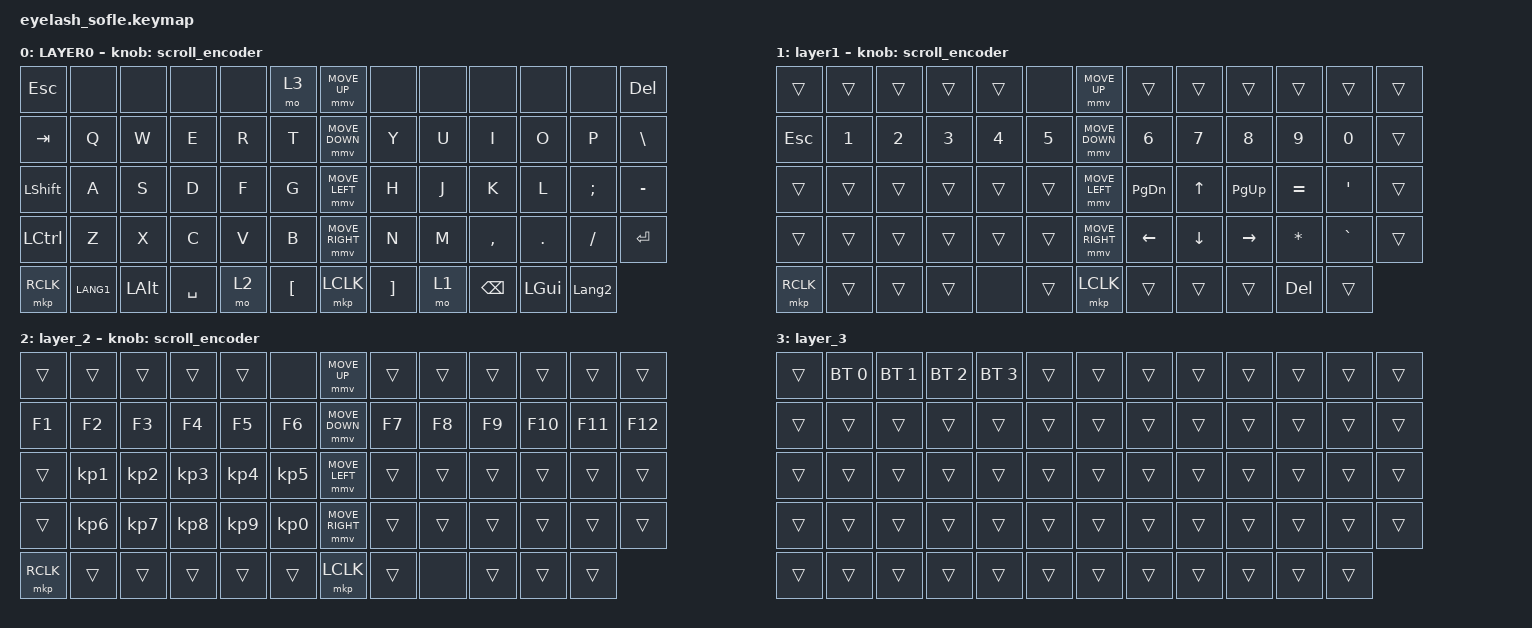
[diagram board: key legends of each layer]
#define ZMK_POINTING_DEFAULT_MOVE_VAL 1200  // 600
#define ZMK_POINTING_DEFAULT_SCRL_VAL 25   // 10

#include <input/processors.dtsi>
#include <zephyr/dt-bindings/input/input-event-codes.h>
#include <behaviors.dtsi>
#include <dt-bindings/zmk/bt.h>
#include <dt-bindings/zmk/keys.h>
#include <dt-bindings/zmk/pointing.h>

&mmv_input_listener { input-processors = <&zip_xy_scaler 2 1>; };

&msc_input_listener { input-processors = <&zip_scroll_scaler 2 1>; };

&msc {
    acceleration-exponent = <1>;      // 0
    time-to-max-speed-ms = <100>;       // 300
    delay-ms = <0>;                   // 0
};

&mmv {
    time-to-max-speed-ms = <500>;
    acceleration-exponent = <1>;
    trigger-period-ms = <16>;
};

/ {
    scroll_encoder: scroll_encoder {
        compatible = "zmk,behavior-sensor-rotate";
        #sensor-binding-cells = <0>;
        bindings = <&msc SCRL_DOWN>, <&msc SCRL_UP>;

        tap-ms = <100>;
    };

    behaviors {
    };

    keymap {
        compatible = "zmk,keymap";

        layer0 {
            bindings = <
&kp ESC               &none      &none         &none      &none  &mo 3              &mmv MOVE_UP     &none              &none  &none          &none         &none           &kp DELETE
&kp TAB               &kp Q      &kp W         &kp E      &kp R  &kp T              &mmv MOVE_DOWN   &kp Y              &kp U  &kp I          &kp O         &kp P           &kp BSLH
&kp LEFT_SHIFT        &kp A      &kp S         &kp D      &kp F  &kp G              &mmv MOVE_LEFT   &kp H              &kp J  &kp K          &kp L         &kp SEMI        &kp MINUS
&kp LEFT_CONTROL      &kp Z      &kp X         &kp C      &kp V  &kp B              &mmv MOVE_RIGHT  &kp N              &kp M  &kp COMMA      &kp DOT       &kp FSLH        &kp ENTER
&mkp RCLK             &kp LANG1  &kp LEFT_ALT  &kp SPACE  &mo 2  &kp LEFT_BRACKET   &mkp LCLK        &kp RIGHT_BRACKET  &mo 1  &kp BACKSPACE  &kp LEFT_GUI  &kp LANGUAGE_2
            >;

            sensor-bindings = <&scroll_encoder>;
            display-name = "LAYER0";
        };

        layer_1 {
            bindings = <
&trans     &trans        &trans        &trans        &trans        &none     &mmv MOVE_UP     &trans        &trans        &trans       &trans        &trans     &trans
&kp ESC    &kp NUMBER_1  &kp NUMBER_2  &kp NUMBER_3  &kp NUMBER_4  &kp N5    &mmv MOVE_DOWN   &kp NUMBER_6  &kp N7        &kp N8       &kp N9        &kp N0     &trans
&trans     &trans        &trans        &trans        &trans        &trans    &mmv MOVE_LEFT   &kp PG_DN     &kp UP_ARROW  &kp PAGE_UP  &kp EQUAL     &kp SQT    &trans
&trans     &trans        &trans        &trans        &trans        &trans    &mmv MOVE_RIGHT  &kp LEFT      &kp DOWN      &kp RIGHT    &kp ASTERISK  &kp GRAVE  &trans
&mkp RCLK  &trans        &trans        &trans        &none         &trans    &mkp LCLK        &trans        &trans        &trans       &kp DELETE    &trans
            >;

            display-name = "layer1";
            sensor-bindings = <&scroll_encoder>;
        };

        layer_2 {
            bindings = <
&trans     &trans           &trans           &trans           &trans           &none              &mmv MOVE_UP     &trans  &trans  &trans  &trans   &trans   &trans
&kp F1     &kp F2           &kp F3           &kp F4           &kp F5           &kp F6             &mmv MOVE_DOWN   &kp F7  &kp F8  &kp F9  &kp F10  &kp F11  &kp F12
&trans     &kp KP_NUMBER_1  &kp KP_NUMBER_2  &kp KP_NUMBER_3  &kp KP_NUMBER_4  &kp KP_NUMBER_5    &mmv MOVE_LEFT   &trans  &trans  &trans  &trans   &trans   &trans
&trans     &kp KP_NUMBER_6  &kp KP_NUMBER_7  &kp KP_NUMBER_8  &kp KP_NUMBER_9  &kp KP_NUMBER_0    &mmv MOVE_RIGHT  &trans  &trans  &trans  &trans   &trans   &trans
&mkp RCLK  &trans           &trans           &trans           &trans           &trans             &mkp LCLK        &trans  &none   &trans  &trans   &trans
            >;

            sensor-bindings = <&scroll_encoder>;
        };

        layer_3 {
            bindings = <
&trans  &bt BT_SEL 0  &bt BT_SEL 1  &bt BT_SEL 2  &bt BT_SEL 3  &trans    &trans  &trans  &trans  &trans  &trans  &trans  &trans
&trans  &trans        &trans        &trans        &trans        &trans    &trans  &trans  &trans  &trans  &trans  &trans  &trans
&trans  &trans        &trans        &trans        &trans        &trans    &trans  &trans  &trans  &trans  &trans  &trans  &trans
&trans  &trans        &trans        &trans        &trans        &trans    &trans  &trans  &trans  &trans  &trans  &trans  &trans
&trans  &trans        &trans        &trans        &trans        &trans    &trans  &trans  &trans  &trans  &trans  &trans
            >;
        };
    };
};
